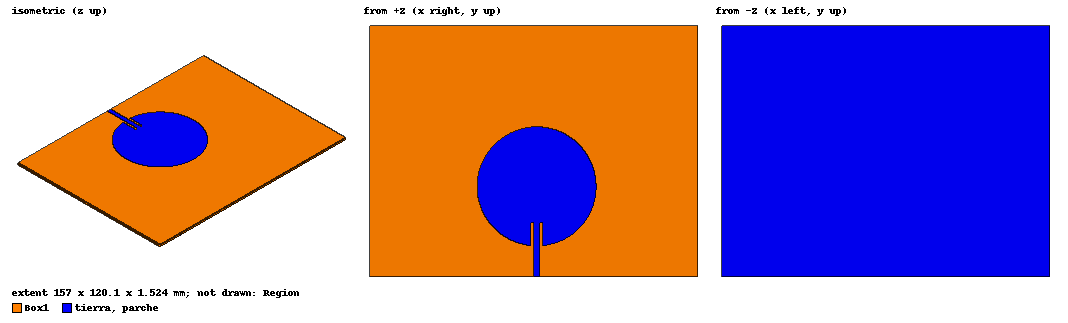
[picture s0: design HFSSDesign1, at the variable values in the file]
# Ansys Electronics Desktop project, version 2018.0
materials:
  vacuum: permittivity=1
  FR4_epoxy: permittivity=4.4 dielectric_loss_tangent=0.02
  air: permittivity=1.0006 permeability=1.0000004

design HFSSDesign1 (HFSS, DrivenModal, model units mm)
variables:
  a = 28.49mm
  lambda = 200mm
  l = 47.39mm
  ll = 27.4mm
  wl = 2.91mm
  h = 1.524mm
  s = wl/2
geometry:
  Box1 [FR4_epoxy] = box(corner=(0mm, 0mm, 0mm), size=(a*2+lambda/2, ll-a/2+a*2+lambda/4, h))
  tierra = rectangle(corner=(0mm, 0mm, 0mm), x_size=lambda/2+2*a, y_size=ll-a/2+a*2+lambda/4)
  parche = circle(normal=Z, centre=(lambda/4+a+wl/2, l/3 +ll, h), radius=a)
  linea = rectangle(corner=(lambda/4+a, 0, h), x_size=wl, y_size=ll)
  muesca = rectangle(corner=(lambda/4+a-wl+s, LL-l/3, h), x_size=2*wl, y_size=a/2)
  parche.subtract(muesca)
  parche.unite(linea)
  puerto = rectangle(corner=(lambda/4+a, 0mm, 0mm), z_size=h, x_size=wl)
  Region [air] = region(transverse_percentage_offset=50 on all sides)
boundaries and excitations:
  PerfE1: Perfect E Objects=parche
  PerfE2: Perfect E Objects=tierra
  Rad1: Radiation Objects=Region
  1: Lumped Port Objects=puerto Modes{Mode1{IntLine{middle of puerto.edge(z at corner) -> middle of puerto.edge(z opposite corner)} CharImp=Zpi RenormImp=50ohm}} Impedance=50ohm
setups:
  Setup1: HfssDriven Frequency=1.5GHz MaxDeltaS=0.02 MaximumPasses=6 MinimumPasses=1 MinimumConvergedPasses=1 PercentRefinement=30 BasisOrder=1 PortAccuracy=2
    sweep Sweep: 1GHz to 2GHz step 0.1GHz; Type=Interpolating InterpTolerance=0.5 InterpMaxSolns=250 InterpUsePortImped=false PassivityErrorTolerance=0.0001
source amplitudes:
  1:1: 1W 0deg
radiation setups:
  Infinite Sphere1: Infinite Sphere Theta=-180deg..180deg step 2deg Phi=-180deg..180deg step 2deg
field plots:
  Mag_Jsurf1: Jsurf over Box1.face(+z) on Setup1 : LastAdaptive at Freq=1.5GHz Phase=0deg
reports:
  S Parameter Plot 1: dB(S(1,1)) vs Freq on Setup1 : Sweep; markers MX1 at x=1.4994709e+09
  Z Parameter Plot 1: re(Z(1,1)), im(Z(1,1)) vs Freq on Setup1 : Sweep; markers MX1 at x=1.4961411e+09
  VSWR Plot 1: dB(VSWR(1)) vs Freq on Setup1 : Sweep; markers MX1 at x=1.5015974e+09
  Gain Plot 1: dB(GainTotal) vs Theta on Setup1 : LastAdaptive, Infinite Sphere1 [Phi=all Freq=1.5GHz]; markers m1 at 0deg, m2 at 160deg, m3 at 146deg, m4 at 106deg
  Gain Plot 2: dB(GainTotal) vs Phi, Theta on Setup1 : LastAdaptive, Infinite Sphere1 [Freq=1.5GHz]
